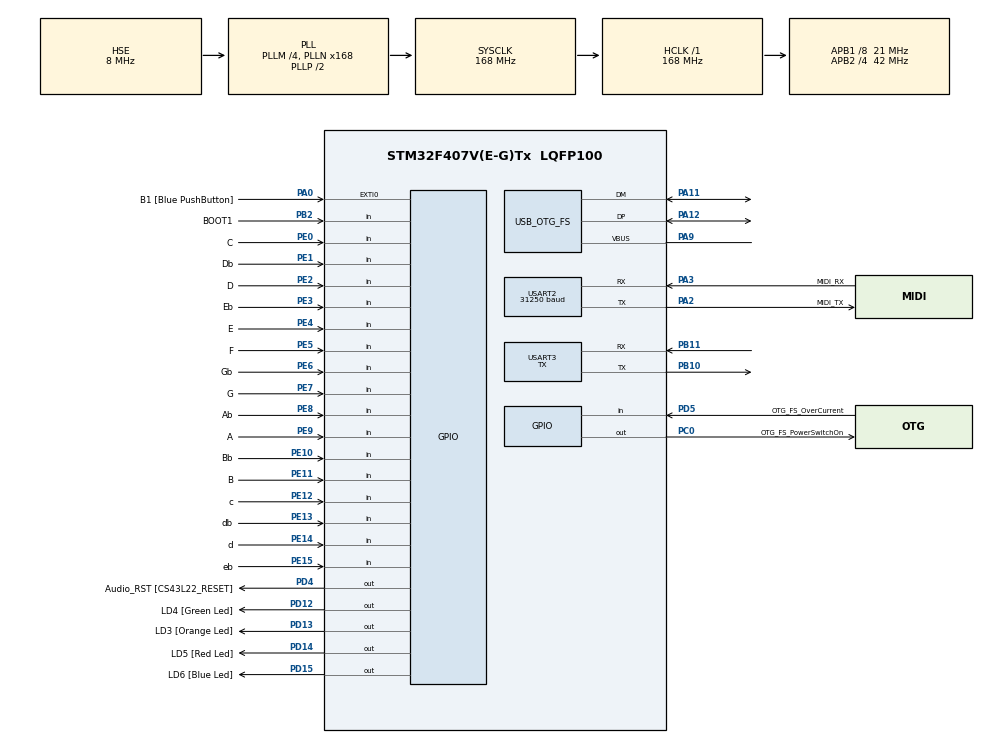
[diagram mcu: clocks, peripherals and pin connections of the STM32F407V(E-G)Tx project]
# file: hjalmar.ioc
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Dma.Request0=USART3_TX
Dma.Request1=USART2_RX
Dma.Request2=USART2_TX
Dma.USART2_RX.1.Direction=DMA_PERIPH_TO_MEMORY
Dma.USART2_RX.1.FIFOMode=DMA_FIFOMODE_DISABLE
Dma.USART2_RX.1.Instance=DMA1_Stream5
Dma.USART2_RX.1.MemDataAlignment=DMA_MDATAALIGN_BYTE
Dma.USART2_RX.1.MemInc=DMA_MINC_ENABLE
Dma.USART2_RX.1.Mode=DMA_NORMAL
Dma.USART2_RX.1.PeriphDataAlignment=DMA_PDATAALIGN_BYTE
Dma.USART2_RX.1.PeriphInc=DMA_PINC_DISABLE
Dma.USART2_RX.1.Priority=DMA_PRIORITY_VERY_HIGH
Dma.USART2_TX.2.Direction=DMA_MEMORY_TO_PERIPH
Dma.USART2_TX.2.FIFOMode=DMA_FIFOMODE_DISABLE
Dma.USART2_TX.2.Instance=DMA1_Stream6
Dma.USART2_TX.2.MemDataAlignment=DMA_MDATAALIGN_BYTE
Dma.USART2_TX.2.MemInc=DMA_MINC_ENABLE
Dma.USART2_TX.2.Mode=DMA_NORMAL
Dma.USART2_TX.2.PeriphDataAlignment=DMA_PDATAALIGN_BYTE
Dma.USART2_TX.2.PeriphInc=DMA_PINC_DISABLE
Dma.USART2_TX.2.Priority=DMA_PRIORITY_LOW
Dma.USART3_TX.0.Direction=DMA_MEMORY_TO_PERIPH
Dma.USART3_TX.0.FIFOMode=DMA_FIFOMODE_DISABLE
Dma.USART3_TX.0.Instance=DMA1_Stream3
Dma.USART3_TX.0.MemDataAlignment=DMA_MDATAALIGN_BYTE
Dma.USART3_TX.0.MemInc=DMA_MINC_ENABLE
Dma.USART3_TX.0.Mode=DMA_NORMAL
Dma.USART3_TX.0.PeriphDataAlignment=DMA_PDATAALIGN_BYTE
Dma.USART3_TX.0.PeriphInc=DMA_PINC_DISABLE
Dma.USART3_TX.0.Priority=DMA_PRIORITY_LOW
Mcu.Family=STM32F4
Mcu.Name=STM32F407V(E-G)Tx
Mcu.Package=LQFP100
NVIC.DMA1_Stream3_IRQn=true\:0\:0\:false\:false\:true
NVIC.DMA1_Stream5_IRQn=true\:0\:0\:false\:false\:true
NVIC.DMA1_Stream6_IRQn=true\:0\:0\:false\:false\:true
NVIC.OTG_FS_IRQn=true\:0\:0\:false\:false\:true
NVIC.PriorityGroup=NVIC_PRIORITYGROUP_0
NVIC.TIM6_DAC_IRQn=true\:0\:0\:false\:false\:true
NVIC.TIM7_IRQn=true\:0\:0\:false\:false\:true
NVIC.USART2_IRQn=true\:0\:0\:false\:false\:true
NVIC.USART3_IRQn=true\:0\:0\:false\:false\:true
PA0-WKUP.GPIO_Label=B1 [Blue PushButton]
PA0-WKUP.GPIO_ModeDefaultEXTI=GPIO_MODE_EVT_RISING
PA0-WKUP.GPIO_PuPd=GPIO_NOPULL
PA0-WKUP.Signal=GPXTI0
PA11.Mode=Device_Only
PA11.Signal=USB_OTG_FS_DM
PA12.Mode=Device_Only
PA12.Signal=USB_OTG_FS_DP
PA2.GPIO_Label=MIDI_TX
PA2.Mode=Asynchronous
PA2.Signal=USART2_TX
PA3.GPIO_Label=MIDI_RX
PA3.Mode=Asynchronous
PA3.Signal=USART2_RX
PA9.Mode=Activate_VBUS
PA9.Signal=USB_OTG_FS_VBUS
PB10.Mode=Asynchronous
PB10.Signal=USART3_TX
PB11.Mode=Asynchronous
PB11.Signal=USART3_RX
PB2.GPIO_Label=BOOT1
PB2.GPIO_Mode=GPIO_MODE_INPUT
PB2.GPIO_PuPd=GPIO_NOPULL
PB2.Signal=GPIO_Input
PC0.GPIO_Label=OTG_FS_PowerSwitchOn
PC0.GPIO_PuPd=GPIO_NOPULL
PC0.GPIO_Speed=GPIO_SPEED_FREQ_LOW
PC0.PinState=GPIO_PIN_SET
PC0.Signal=GPIO_Output
PD12.GPIO_Label=LD4 [Green Led]
PD12.GPIO_PuPd=GPIO_NOPULL
PD12.GPIO_Speed=GPIO_SPEED_FREQ_LOW
PD12.Signal=GPIO_Output
PD13.GPIO_Label=LD3 [Orange Led]
PD13.GPIO_PuPd=GPIO_NOPULL
PD13.GPIO_Speed=GPIO_SPEED_FREQ_LOW
PD13.Signal=GPIO_Output
PD14.GPIO_Label=LD5 [Red Led]
PD14.GPIO_PuPd=GPIO_NOPULL
PD14.GPIO_Speed=GPIO_SPEED_FREQ_LOW
PD14.Signal=GPIO_Output
PD15.GPIO_Label=LD6 [Blue Led]
PD15.GPIO_PuPd=GPIO_NOPULL
PD15.GPIO_Speed=GPIO_SPEED_FREQ_LOW
PD15.Signal=GPIO_Output
PD4.GPIO_Label=Audio_RST [CS43L22_RESET]
PD4.GPIO_PuPd=GPIO_NOPULL
PD4.GPIO_Speed=GPIO_SPEED_FREQ_LOW
PD4.Signal=GPIO_Output
PD5.GPIO_Label=OTG_FS_OverCurrent
PD5.GPIO_Mode=GPIO_MODE_INPUT
PD5.GPIO_PuPd=GPIO_NOPULL
PD5.Signal=GPIO_Input
PE0.GPIO_Label=C
PE0.GPIO_PuPd=GPIO_PULLUP
PE0.Signal=GPIO_Input
PE1.GPIO_Label=Db
PE1.GPIO_PuPd=GPIO_PULLUP
PE1.Signal=GPIO_Input
PE10.GPIO_Label=Bb
PE10.GPIO_PuPd=GPIO_PULLUP
PE10.Signal=GPIO_Input
PE11.GPIO_Label=B
PE11.GPIO_PuPd=GPIO_PULLUP
PE11.Signal=GPIO_Input
PE12.GPIO_Label=c
PE12.GPIO_PuPd=GPIO_PULLUP
PE12.Signal=GPIO_Input
PE13.GPIO_Label=db
PE13.GPIO_PuPd=GPIO_PULLUP
PE13.Signal=GPIO_Input
PE14.GPIO_Label=d
PE14.GPIO_PuPd=GPIO_PULLUP
PE14.Signal=GPIO_Input
PE15.GPIO_Label=eb
PE15.GPIO_PuPd=GPIO_PULLUP
PE15.Signal=GPIO_Input
PE2.GPIO_Label=D
PE2.GPIO_PuPd=GPIO_PULLUP
PE2.Signal=GPIO_Input
PE3.GPIO_Label=Eb
PE3.GPIO_PuPd=GPIO_PULLUP
PE3.Signal=GPIO_Input
PE4.GPIO_Label=E
PE4.GPIO_PuPd=GPIO_PULLUP
PE4.Signal=GPIO_Input
PE5.GPIO_Label=F
PE5.GPIO_PuPd=GPIO_PULLUP
PE5.Signal=GPIO_Input
PE6.GPIO_Label=Gb
PE6.GPIO_PuPd=GPIO_PULLUP
PE6.Signal=GPIO_Input
PE7.GPIO_Label=G
PE7.GPIO_PuPd=GPIO_PULLUP
PE7.Signal=GPIO_Input
PE8.GPIO_Label=Ab
PE8.GPIO_PuPd=GPIO_PULLUP
PE8.Signal=GPIO_Input
PE9.GPIO_Label=A
PE9.GPIO_PuPd=GPIO_PULLUP
PE9.Signal=GPIO_Input
PH0-OSC_IN.Mode=HSE-External-Oscillator
PH0-OSC_IN.Signal=RCC_OSC_IN
PH1-OSC_OUT.Mode=HSE-External-Oscillator
PH1-OSC_OUT.Signal=RCC_OSC_OUT
ProjectManager.HeapSize=0x200
ProjectManager.StackSize=0x400
ProjectManager.TargetToolchain=Makefile
RCC.48MHZClocksFreq_Value=48000000
RCC.AHBFreq_Value=168000000
RCC.APB1CLKDivider=RCC_HCLK_DIV8
RCC.APB1Freq_Value=21000000
RCC.APB1TimFreq_Value=42000000
RCC.APB2CLKDivider=RCC_HCLK_DIV4
RCC.APB2Freq_Value=42000000
RCC.APB2TimFreq_Value=84000000
RCC.CortexFreq_Value=168000000
RCC.HCLKFreq_Value=168000000
RCC.HSE_VALUE=8000000
RCC.HSI_VALUE=16000000
RCC.LSE_VALUE=32768
RCC.PLLM=4
RCC.PLLN=168
RCC.PLLQ=7
RCC.SYSCLKFreq_VALUE=168000000
RCC.SYSCLKSource=RCC_SYSCLKSOURCE_PLLCLK
RCC.VCOOutputFreq_Value=336000000
TIM6.Period=1
TIM6.Prescaler=(uint32_t) (SystemCoreClock/8000) - 1
TIM7.Period=1
TIM7.Prescaler=(uint32_t) (SystemCoreClock/800) - 1
USART2.BaudRate=31250
USART2.VirtualMode=VM_ASYNC
USART3.Mode=MODE_TX
USART3.VirtualMode=VM_ASYNC
USB_DEVICE.CLASS_NAME_FS=CDC
USB_DEVICE.VirtualMode-CDC_FS=Cdc
USB_DEVICE.VirtualModeFS=Cdc_FS
USB_OTG_FS.VirtualMode=Device_Only
VP_TIM6_VS_ClockSourceINT.Mode=Enable_Timer
VP_TIM7_VS_ClockSourceINT.Mode=Enable_Timer
VP_USB_DEVICE_VS_USB_DEVICE_CDC_FS.Mode=CDC_FS
board=STM32F4DISCOVERY

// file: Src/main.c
/**
  ******************************************************************************
  * File Name          : main.c
  * Description        : Main program body
  ******************************************************************************
  * This notice applies to any and all portions of this file
  * that are not between comment pairs USER CODE BEGIN and
  * USER CODE END. Other portions of this file, whether
  * inserted by the user or by software development tools
  * are owned by their respective copyright owners.
  *
  * Copyright (c) 2017 STMicroelectronics International N.V.
  * All rights reserved.
  *
  * Redistribution and use in source and binary forms, with or without
  * modification, are permitted, provided that the following conditions are met:
  *
  * 1. Redistribution of source code must retain the above copyright notice,
  *    this list of conditions and the following disclaimer.
  * 2. Redistributions in binary form must reproduce the above copyright notice,
  *    this list of conditions and the following disclaimer in the documentation
  *    and/or other materials provided with the distribution.
  * 3. Neither the name of STMicroelectronics nor the names of other
  *    contributors to this software may be used to endorse or promote products
  *    derived from this software without specific written permission.
  * 4. This software, including modifications and/or derivative works of this
  *    software, must execute solely and exclusively on microcontroller or
  *    microprocessor devices manufactured by or for STMicroelectronics.
  * 5. Redistribution and use of this software other than as permitted under
  *    this license is void and will automatically terminate your rights under
  *    this license.
  *
  * THIS SOFTWARE IS PROVIDED BY STMICROELECTRONICS AND CONTRIBUTORS "AS IS"
  * AND ANY EXPRESS, IMPLIED OR STATUTORY WARRANTIES, INCLUDING, BUT NOT
  * LIMITED TO, THE IMPLIED WARRANTIES OF MERCHANTABILITY, FITNESS FOR A
  * PARTICULAR PURPOSE AND NON-INFRINGEMENT OF THIRD PARTY INTELLECTUAL PROPERTY
  * RIGHTS ARE DISCLAIMED TO THE FULLEST EXTENT PERMITTED BY LAW. IN NO EVENT
  * SHALL STMICROELECTRONICS OR CONTRIBUTORS BE LIABLE FOR ANY DIRECT, INDIRECT,
  * INCIDENTAL, SPECIAL, EXEMPLARY, OR CONSEQUENTIAL DAMAGES (INCLUDING, BUT NOT
  * LIMITED TO, PROCUREMENT OF SUBSTITUTE GOODS OR SERVICES; LOSS OF USE, DATA,
  * OR PROFITS; OR BUSINESS INTERRUPTION) HOWEVER CAUSED AND ON ANY THEORY OF
  * LIABILITY, WHETHER IN CONTRACT, STRICT LIABILITY, OR TORT (INCLUDING
  * NEGLIGENCE OR OTHERWISE) ARISING IN ANY WAY OUT OF THE USE OF THIS SOFTWARE,
  * EVEN IF ADVISED OF THE POSSIBILITY OF SUCH DAMAGE.
  *
  ******************************************************************************
  */
#include "main.h"
#include "stm32f4xx_hal.h"
#include "dma.h"
#include "tim.h"
#include "usart.h"
#include "usb_device.h"
#include "gpio.h"

/* USER CODE BEGIN Includes */
#include "midi_constants.h"
#include "debug_uart.h"
/* USER CODE END Includes */

/* USER CODE BEGIN PV */
/* Private variables ---------------------------------------------------------*/

/* USER CODE END PV */

void SystemClock_Config(void);

/* USER CODE BEGIN PFP */
/* Private function prototypes -----------------------------------------------*/

/* USER CODE END PFP */

int main(void)
{

  /* MCU Configuration----------------------------------------------------------*/

  /* Reset of all peripherals, Initializes the Flash interface and the Systick. */
  HAL_Init();

  /* Configure the system clock */
  SystemClock_Config();

  /* Initialize all configured peripherals */
  MX_GPIO_Init();
  MX_DMA_Init();
  MX_USART2_UART_Init();
  MX_USART3_UART_Init();
  MX_TIM6_Init();
  MX_TIM7_Init();
  MX_USB_DEVICE_Init();

  /* USER CODE BEGIN 2 */

  HAL_GPIO_WritePin(LD4_GPIO_Port, LD4_Pin, GPIO_PIN_SET);
  HAL_GPIO_WritePin(LD3_GPIO_Port, LD3_Pin, GPIO_PIN_RESET);
  HAL_GPIO_WritePin(LD6_GPIO_Port, LD6_Pin, GPIO_PIN_RESET);

  init_debug(64, 7, LOG_LEVEL_INFO);

  uint8_t current_note = NOTE_C_0;

  midi_note_cmd_t note;
  note.cmd_chan = (uint8_t) (NOTE_ON << 4) | MIDI_CHANNEL_0;
  note.note_number = current_note;
  note.velocity = 0x55;

  uint8_t *midi_message= {0};
  uint16_t midi_message_size = 0;

  if (receive_midi_message( midi_message, &midi_message_size) != HAL_OK)
  {
      _Error_Handler(__FILE__, __LINE__);
  }

  /* USER CODE END 2 */

  /* Infinite loop */
  while (1)
  {

  /* USER CODE BEGIN 3 */

/*      note.cmd_chan = (uint8_t) (NOTE_ON << 4) | MIDI_CHANNEL_0;
      note.note_number = current_note++;

      if(transmit_midi_message((uint8_t *)&note, 4) != HAL_OK){
          _Error_Handler(__FILE__, __LINE__);
      }
      HAL_GPIO_WritePin(GPIOD, LD6_Pin, GPIO_PIN_SET);

      if(wait_ms(100) != HAL_OK)
      {
          _Error_Handler(__FILE__, __LINE__);
      }
      while(!get_midi_tx_state());
      while (!wait_done());
      HAL_GPIO_WritePin(GPIOD, LD6_Pin, GPIO_PIN_RESET);

      note.cmd_chan = (uint8_t) (NOTE_OFF << 4) | MIDI_CHANNEL_0;
      if(transmit_midi_message((uint8_t *)&note, 4) != HAL_OK){
          _Error_Handler(__FILE__, __LINE__);
      }

      if(wait_ms(1000) != HAL_OK)
      {
          _Error_Handler(__FILE__, __LINE__);
      }
      while (!get_midi_tx_state());
      while (!wait_done());*/

  }
  /* USER CODE END 3 */

}

/** System Clock Configuration
*/
void SystemClock_Config(void)
{

  RCC_OscInitTypeDef RCC_OscInitStruct;
  RCC_ClkInitTypeDef RCC_ClkInitStruct;

    /**Configure the main internal regulator output voltage
    */
  __HAL_RCC_PWR_CLK_ENABLE();

  __HAL_PWR_VOLTAGESCALING_CONFIG(PWR_REGULATOR_VOLTAGE_SCALE1);

    /**Initializes the CPU, AHB and APB busses clocks
    */
  RCC_OscInitStruct.OscillatorType = RCC_OSCILLATORTYPE_HSE;
  RCC_OscInitStruct.HSEState = RCC_HSE_ON;
  RCC_OscInitStruct.PLL.PLLState = RCC_PLL_ON;
  RCC_OscInitStruct.PLL.PLLSource = RCC_PLLSOURCE_HSE;
  RCC_OscInitStruct.PLL.PLLM = 4;
  RCC_OscInitStruct.PLL.PLLN = 168;
  RCC_OscInitStruct.PLL.PLLP = RCC_PLLP_DIV2;
  RCC_OscInitStruct.PLL.PLLQ = 7;
  if (HAL_RCC_OscConfig(&RCC_OscInitStruct) != HAL_OK)
  {
    _Error_Handler(__FILE__, __LINE__);
  }

    /**Initializes the CPU, AHB and APB busses clocks
    */
  RCC_ClkInitStruct.ClockType = RCC_CLOCKTYPE_HCLK|RCC_CLOCKTYPE_SYSCLK
                              |RCC_CLOCKTYPE_PCLK1|RCC_CLOCKTYPE_PCLK2;
  RCC_ClkInitStruct.SYSCLKSource = RCC_SYSCLKSOURCE_PLLCLK;
  RCC_ClkInitStruct.AHBCLKDivider = RCC_SYSCLK_DIV1;
  RCC_ClkInitStruct.APB1CLKDivider = RCC_HCLK_DIV8;
  RCC_ClkInitStruct.APB2CLKDivider = RCC_HCLK_DIV4;

  if (HAL_RCC_ClockConfig(&RCC_ClkInitStruct, FLASH_LATENCY_5) != HAL_OK)
  {
    _Error_Handler(__FILE__, __LINE__);
  }

    /**Configure the Systick interrupt time
    */
  HAL_SYSTICK_Config(HAL_RCC_GetHCLKFreq()/1000);

    /**Configure the Systick
    */
  HAL_SYSTICK_CLKSourceConfig(SYSTICK_CLKSOURCE_HCLK);

  /* SysTick_IRQn interrupt configuration */
  HAL_NVIC_SetPriority(SysTick_IRQn, 0, 0);
}

void _Error_Handler(char * file, int line)
{
  /* USER CODE BEGIN Error_Handler_Debug */
  /* User can add his own implementation to report the HAL error return state */
  while(1)
  {
      HAL_UART_AbortTransmit(&huart3);
      char tx_msg[64] = {0};
      sprintf(tx_msg,"error in %s Line %d\r\n", file, line);
      while(huart2.gState != HAL_UART_STATE_READY);
      HAL_UART_Transmit_DMA(&huart3, (uint8_t *)tx_msg, 64);
      while(huart2.gState != HAL_UART_STATE_READY);
      HAL_UART_DeInit(&huart3);
      HAL_UART_DeInit(&huart2);
      HAL_UART_AbortTransmit(&huart3);

      //if (huart1 == HAL_ERROR){
          HAL_GPIO_WritePin(GPIOD, LD5_Pin, GPIO_PIN_SET);
      //}

  }
  /* USER CODE END Error_Handler_Debug */
}

/************************ (C) COPYRIGHT STMicroelectronics *****END OF FILE****/
